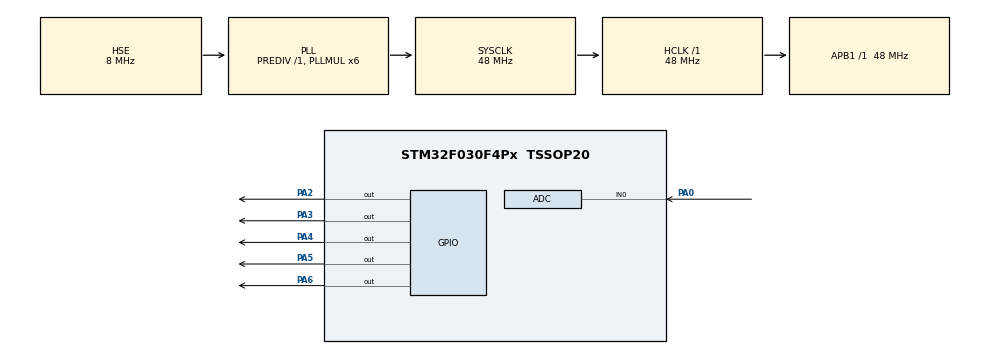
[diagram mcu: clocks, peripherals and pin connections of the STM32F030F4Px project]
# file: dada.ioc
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ADC.ContinuousConvMode=ENABLE
ADC.SamplingTime=ADC_SAMPLETIME_41CYCLES_5
Mcu.Family=STM32F0
Mcu.Name=STM32F030F4Px
Mcu.Package=TSSOP20
PA0.Mode=IN0
PA0.Signal=ADC_IN0
PA2.GPIO_Speed=GPIO_SPEED_FREQ_HIGH
PA2.PinState=GPIO_PIN_SET
PA2.Signal=GPIO_Output
PA3.GPIO_Speed=GPIO_SPEED_FREQ_HIGH
PA3.PinState=GPIO_PIN_SET
PA3.Signal=GPIO_Output
PA4.GPIO_Speed=GPIO_SPEED_FREQ_HIGH
PA4.PinState=GPIO_PIN_SET
PA4.Signal=GPIO_Output
PA5.GPIO_Speed=GPIO_SPEED_FREQ_HIGH
PA5.PinState=GPIO_PIN_SET
PA5.Signal=GPIO_Output
PA6.GPIO_Speed=GPIO_SPEED_FREQ_HIGH
PA6.PinState=GPIO_PIN_SET
PA6.Signal=GPIO_Output
PF0-OSC_IN.Mode=HSE-External-Oscillator
PF0-OSC_IN.Signal=RCC_OSC_IN
PF1-OSC_OUT.Mode=HSE-External-Oscillator
PF1-OSC_OUT.Signal=RCC_OSC_OUT
ProjectManager.HeapSize=0x200
ProjectManager.StackSize=0x400
ProjectManager.TargetToolchain=STM32CubeIDE
RCC.AHBFreq_Value=48000000
RCC.APB1Freq_Value=48000000
RCC.APB1TimFreq_Value=48000000
RCC.HCLKFreq_Value=48000000
RCC.PLLMUL=RCC_PLL_MUL6
RCC.PLLSourceVirtual=RCC_PLLSOURCE_HSE
RCC.SYSCLKFreq_VALUE=48000000
RCC.SYSCLKSource=RCC_SYSCLKSOURCE_PLLCLK
board=custom

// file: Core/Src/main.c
/* USER CODE BEGIN Header */
/**
  ******************************************************************************
  * @file           : main.c
  * @brief          : Main program body
  ******************************************************************************
  * @attention
  *
  * <h2><center>&copy; Copyright (c) 2021 STMicroelectronics.
  * All rights reserved.</center></h2>
  *
  * This software component is licensed by ST under BSD 3-Clause license,
  * the "License"; You may not use this file except in compliance with the
  * License. You may obtain a copy of the License at:
  *                        opensource.org/licenses/BSD-3-Clause
  *
  ******************************************************************************
  */
/* USER CODE END Header */

#include "main.h"
#include "stm32f0xx.h"
#include <stdio.h>
#include "stm32f0xx_hal_def.h"
#include "stm32f0xx_hal_adc_ex.h"
#include "stm32f0xx_hal.h"
#include "stm32f0xx_hal_adc.h"
#include "stm32f030x6.h"
#include "stm32f0xx.h"
#include "system_stm32f0xx.h"
#include "stm32_hal_legacy.h"
#include "stm32f0xx_hal_gpio.h"
#include "stm32f0xx_hal_gpio_ex.h"
#include "stm32f0xx_hal_rcc_ex.h"
#include "stm32f0xx_hal_rcc.h"
#include "stm32f0xx_hal_tim.h"
#include "stm32f0xx_hal_tim_ex.h"
#include "stm32f0xx_hal_cortex.h"
#include "stm32f0xx_hal_flash.h"
#include "stm32f0xx_hal_flash_ex.h"
#include "stm32f0xx_hal_pwr.h"
#include "stm32f0xx_hal_pwr_ex.h"

ADC_HandleTypeDef hadc;

void SystemClock_Config(void);
static void MX_GPIO_Init(void);
static void MX_ADC_Init(void);

/* USER CODE BEGIN 0 */
uint32_t adcval;
float temp;
float low=14.5;
float high=15.5;
/* USER CODE END 0 */

int main(void)
{

  /* MCU Configuration--------------------------------------------------------*/

  /* Reset of all peripherals, Initializes the Flash interface and the Systick. */
  HAL_Init();

  /* Configure the system clock */
  SystemClock_Config();

  /* Initialize all configured peripherals */
  MX_GPIO_Init();
  MX_ADC_Init();

  /* Infinite loop */
  /* USER CODE BEGIN WHILE */
  while (1)
  {

/*
	  	  HAL_GPIO_TogglePin(GPIOA, GPIO_PIN_4);
	  	  HAL_Delay(1000);
	  	  HAL_GPIO_TogglePin(GPIOA, GPIO_PIN_4);
	  	  HAL_Delay(1000);

	  	  ////////////////////////////////////////////////////
*/
	  HAL_ADC_Start(&hadc);

	  if (HAL_ADC_PollForConversion(&hadc, 5000) != HAL_OK) // error value
	  {
	      adcval=-1;
	  }

	  if (HAL_ADC_PollForConversion(&hadc, 5000) == HAL_OK)
	  {
	      adcval = HAL_ADC_GetValue(&hadc);
	  }

	  temp = (adcval)*(0.1220703125); // adcval*500/2^12

	  	  if(temp>=high){

	  	  		  HAL_Delay(500);
	  	  		  HAL_GPIO_WritePin(GPIOA, GPIO_PIN_5|GPIO_PIN_6, GPIO_PIN_RESET);
	  	  		  HAL_GPIO_WritePin(GPIOA, GPIO_PIN_2|GPIO_PIN_3, GPIO_PIN_SET);
	  	  		  HAL_Delay(900);

	  	  	  } else if(temp<=low){
	  	  		  HAL_Delay(500);
	  	  		  HAL_GPIO_WritePin(GPIOA, GPIO_PIN_2|GPIO_PIN_3, GPIO_PIN_RESET);
	  	  		  HAL_GPIO_WritePin(GPIOA, GPIO_PIN_5|GPIO_PIN_6, GPIO_PIN_SET);
	  	  		  HAL_Delay(500);

	  	  	  } else{

	  	  		  HAL_Delay(500);
	  	  		  HAL_GPIO_WritePin(GPIOA, GPIO_PIN_2|GPIO_PIN_3|GPIO_PIN_4|GPIO_PIN_5|GPIO_PIN_6, GPIO_PIN_RESET);
	  	  		  HAL_Delay(500);

	  	  	  }

		  HAL_ADC_Stop(&hadc);
    /* USER CODE END WHILE */

  }
}

void SystemClock_Config(void)
{
  RCC_OscInitTypeDef RCC_OscInitStruct = {0};
  RCC_ClkInitTypeDef RCC_ClkInitStruct = {0};

  /** Initializes the CPU, AHB and APB busses clocks
  */
  RCC_OscInitStruct.OscillatorType = RCC_OSCILLATORTYPE_HSI14|RCC_OSCILLATORTYPE_HSE;
  RCC_OscInitStruct.HSEState = RCC_HSE_ON;
  RCC_OscInitStruct.HSI14State = RCC_HSI14_ON;
  RCC_OscInitStruct.HSI14CalibrationValue = 16;
  RCC_OscInitStruct.PLL.PLLState = RCC_PLL_ON;
  RCC_OscInitStruct.PLL.PLLSource = RCC_PLLSOURCE_HSE;
  RCC_OscInitStruct.PLL.PLLMUL = RCC_PLL_MUL6;
  RCC_OscInitStruct.PLL.PREDIV = RCC_PREDIV_DIV1;
  if (HAL_RCC_OscConfig(&RCC_OscInitStruct) != HAL_OK)
  {
    Error_Handler();
  }
  /** Initializes the CPU, AHB and APB busses clocks
  */
  RCC_ClkInitStruct.ClockType = RCC_CLOCKTYPE_HCLK|RCC_CLOCKTYPE_SYSCLK
                              |RCC_CLOCKTYPE_PCLK1;
  RCC_ClkInitStruct.SYSCLKSource = RCC_SYSCLKSOURCE_PLLCLK;
  RCC_ClkInitStruct.AHBCLKDivider = RCC_SYSCLK_DIV1;
  RCC_ClkInitStruct.APB1CLKDivider = RCC_HCLK_DIV1;

  if (HAL_RCC_ClockConfig(&RCC_ClkInitStruct, FLASH_LATENCY_1) != HAL_OK)
  {
    Error_Handler();
  }
}

static void MX_ADC_Init(void)
{

  ADC_ChannelConfTypeDef sConfig = {0};

  /** Configure the global features of the ADC (Clock, Resolution, Data Alignment and number of conversion)
  */
  hadc.Instance = ADC1;
  hadc.Init.ClockPrescaler = ADC_CLOCK_ASYNC_DIV1;
  hadc.Init.Resolution = ADC_RESOLUTION_12B;
  hadc.Init.DataAlign = ADC_DATAALIGN_RIGHT;
  hadc.Init.ScanConvMode = ADC_SCAN_DIRECTION_FORWARD;
  hadc.Init.EOCSelection = ADC_EOC_SINGLE_CONV;
  hadc.Init.LowPowerAutoWait = DISABLE;
  hadc.Init.LowPowerAutoPowerOff = DISABLE;
  hadc.Init.ContinuousConvMode = ENABLE;
  hadc.Init.DiscontinuousConvMode = DISABLE;
  hadc.Init.ExternalTrigConv = ADC_SOFTWARE_START;
  hadc.Init.ExternalTrigConvEdge = ADC_EXTERNALTRIGCONVEDGE_NONE;
  hadc.Init.DMAContinuousRequests = DISABLE;
  hadc.Init.Overrun = ADC_OVR_DATA_OVERWRITTEN;
  if (HAL_ADC_Init(&hadc) != HAL_OK)
  {
    Error_Handler();
  }
  /** Configure for the selected ADC regular channel to be converted.
  */
  sConfig.Channel = ADC_CHANNEL_0;
  sConfig.Rank = ADC_RANK_CHANNEL_NUMBER;
  sConfig.SamplingTime = ADC_SAMPLETIME_41CYCLES_5;
  if (HAL_ADC_ConfigChannel(&hadc, &sConfig) != HAL_OK)
  {
    Error_Handler();
  }

}

static void MX_GPIO_Init(void)
{
  GPIO_InitTypeDef GPIO_InitStruct = {0};

  /* GPIO Ports Clock Enable */
  __HAL_RCC_GPIOF_CLK_ENABLE();
  __HAL_RCC_GPIOA_CLK_ENABLE();

  /*Configure GPIO pin Output Level */
  HAL_GPIO_WritePin(GPIOA, GPIO_PIN_2|GPIO_PIN_3|GPIO_PIN_4|GPIO_PIN_5
                          |GPIO_PIN_6, GPIO_PIN_SET);

  /*Configure GPIO pins : PA2 PA3 PA4 PA5
                           PA6 */
  GPIO_InitStruct.Pin = GPIO_PIN_2|GPIO_PIN_3|GPIO_PIN_4|GPIO_PIN_5
                          |GPIO_PIN_6;
  GPIO_InitStruct.Mode = GPIO_MODE_OUTPUT_PP;
  GPIO_InitStruct.Pull = GPIO_NOPULL;
  GPIO_InitStruct.Speed = GPIO_SPEED_FREQ_HIGH;
  HAL_GPIO_Init(GPIOA, &GPIO_InitStruct);

}

void Error_Handler(void)
{
}

/************************ (C) COPYRIGHT STMicroelectronics *****END OF FILE****/
